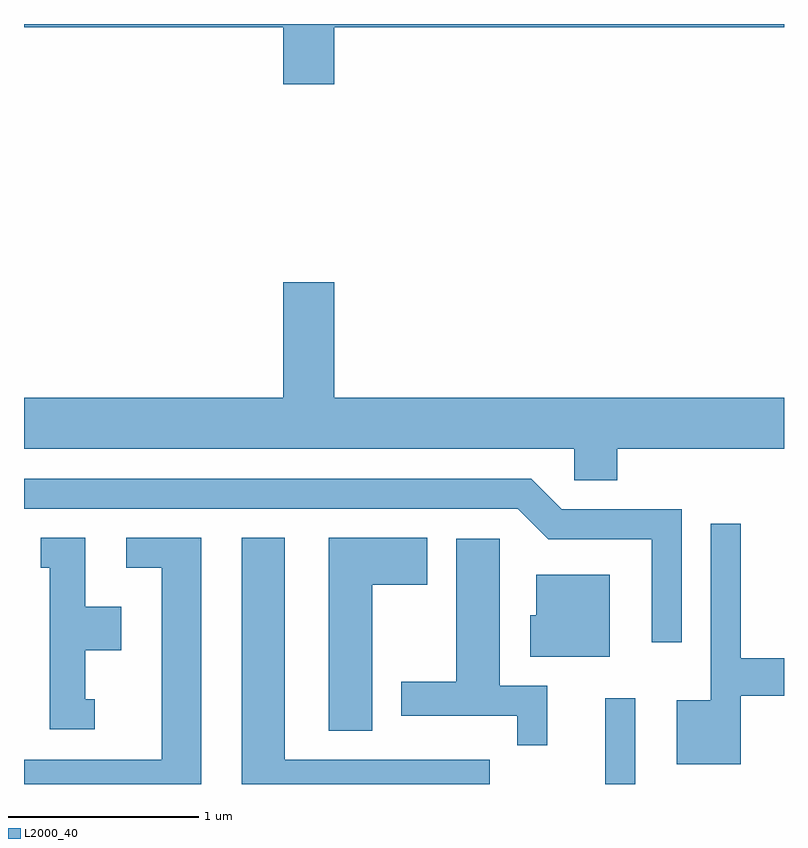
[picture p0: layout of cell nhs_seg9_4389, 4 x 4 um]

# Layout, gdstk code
import gdstk
lib = gdstk.Library(unit=1e-6, precision=1e-09)
def R(c, l, rs):  # rectangles x0, y0, x1, y1
    for r in rs: c.add(gdstk.rectangle(r[:2], r[2:], *l))
def P(c, l, *ps):  # polygons
    for p in ps: c.add(gdstk.Polygon(p, *l))
L2000_40 = (2000, 40)

nhs_seg9_4389 = lib.new_cell('nhs_seg9_4389')
R(nhs_seg9_4389, L2000_40, [(316.671,2054.432,316.829,2054.883)])
P(nhs_seg9_4389, L2000_40, [(315.244,2058.416),(317.611,2058.416),(317.611,2058.432),(313.611,2058.432),(313.611,2058.416),(314.976,2058.416),(314.976,2058.116),(315.244,2058.116)],
  [(314.976,2057.074),(314.976,2056.464),(313.611,2056.464),(313.611,2056.196),(316.506,2056.196),(316.506,2056.031),(316.734,2056.031),(316.734,2056.196),(317.611,2056.196),(317.611,2056.464),(315.244,2056.464),(315.244,2057.074)],
  [(317.074,2055.879),(316.442,2055.879),(316.282,2056.039),(313.611,2056.039),(313.611,2055.881),(316.209,2055.881),(316.369,2055.721),(316.916,2055.721),(316.916,2055.178),(317.074,2055.178)],
  [(317.384,2054.896),(317.611,2054.896),(317.611,2055.094),(317.384,2055.094),(317.384,2055.803),(317.226,2055.803),(317.226,2054.874),(317.046,2054.874),(317.046,2054.536),(317.384,2054.536)],
  [(315.444,2055.481),(315.734,2055.481),(315.734,2055.729),(315.216,2055.729),(315.216,2054.711),(315.444,2054.711)],
  [(316.063,2054.559),(314.984,2054.559),(314.984,2055.729),(314.756,2055.729),(314.756,2054.432),(316.063,2054.432)],
  [(313.983,2054.879),(313.934,2054.879),(313.934,2055.136),(314.124,2055.136),(314.124,2055.364),(313.934,2055.364),(313.934,2055.729),(313.698,2055.729),(313.698,2055.571),(313.746,2055.571),(313.746,2054.721),(313.983,2054.721)],
  [(314.544,2055.729),(314.148,2055.729),(314.148,2055.571),(314.336,2055.571),(314.336,2054.559),(313.611,2054.559),(313.611,2054.432),(314.544,2054.432)],
  [(316.364,2054.949),(316.114,2054.949),(316.114,2055.724),(315.886,2055.724),(315.886,2054.969),(315.596,2054.969),(315.596,2054.791),(316.206,2054.791),(316.206,2054.637),(316.364,2054.637)],
  [(316.694,2055.534),(316.306,2055.534),(316.306,2055.319),(316.276,2055.319),(316.276,2055.101),(316.694,2055.101)])

lib.write_gds('nhs_seg9_4389.gds')
